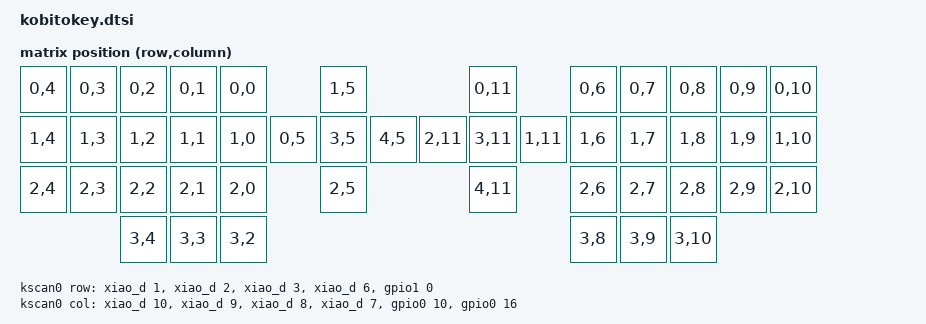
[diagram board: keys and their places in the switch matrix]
#include <dt-bindings/zmk/matrix_transform.h>
#include <dt-bindings/zmk/input_transform.h>
#include "KobitoKey-layouts.dtsi"
#include <mouse-gesture.dtsi>

/ {
    kscan0: kscan0 {
        compatible = "zmk,kscan-gpio-matrix";
        diode-direction = "col2row";
        wakeup-source;

        row-gpios = <&xiao_d 1 (GPIO_ACTIVE_HIGH | GPIO_PULL_DOWN)>, 
                    <&xiao_d 2 (GPIO_ACTIVE_HIGH | GPIO_PULL_DOWN)>, 
                    <&xiao_d 3 (GPIO_ACTIVE_HIGH | GPIO_PULL_DOWN)>,
                    <&xiao_d 6 (GPIO_ACTIVE_HIGH | GPIO_PULL_DOWN)>, 
                    <&gpio1 0 (GPIO_ACTIVE_HIGH | GPIO_PULL_DOWN)>;
        col-gpios = <&xiao_d 10 GPIO_ACTIVE_HIGH>, 
                    <&xiao_d 9 GPIO_ACTIVE_HIGH> , 
                    <&xiao_d 8 GPIO_ACTIVE_HIGH> , 
                    <&xiao_d 7 GPIO_ACTIVE_HIGH> , 
                    <&gpio0 10 GPIO_ACTIVE_HIGH> ,
                    <&gpio0 16 GPIO_ACTIVE_HIGH> ;
    };

    default_transform: keymap_transform0 {
        compatible = "zmk,matrix-transform";
        rows = <5>;
        columns = <12>;
        map = <
            RC(0,4) RC(0,3) RC(0,2) RC(0,1) RC(0,0)         RC(1,5)                      RC(0,11)          RC(0,6) RC(0,7) RC(0,8)  RC(0,9) RC(0,10)
            RC(1,4) RC(1,3) RC(1,2) RC(1,1) RC(1,0) RC(0,5) RC(3,5) RC(4,5)     RC(2,11) RC(3,11) RC(1,11) RC(1,6) RC(1,7) RC(1,8)  RC(1,9) RC(1,10)
            RC(2,4) RC(2,3) RC(2,2) RC(2,1) RC(2,0)         RC(2,5)                      RC(4,11)          RC(2,6) RC(2,7) RC(2,8)  RC(2,9) RC(2,10)
                            RC(3,4) RC(3,3) RC(3,2)                                                        RC(3,8) RC(3,9) RC(3,10)
        >;
    };

    split_inputs {
        #address-cells = <1>;
        #size-cells = <0>;

        tb_right_split: tb_right_split@0 {
            compatible = "zmk,input-split";
            reg = <0>;
        };
    };

    tb_left_listener: tb_left_listener {
        compatible = "zmk,input-listener";
        status = "disabled";
    };

    tb_right_listener: tb_right_listener {
        compatible = "zmk,input-listener";
        status = "disabled";
        device = <&tb_right_split>;
    };
};


/ {
    physical_layout0: physical_layout_0 {
        compatible = "zmk,physical-layout";
        display-name = "Default Layout";

        kscan = <&kscan0>;
        transform = <&default_transform>;
    };
    chosen {
        zmk,physical-layout = &physical_layout0;
    };
};
